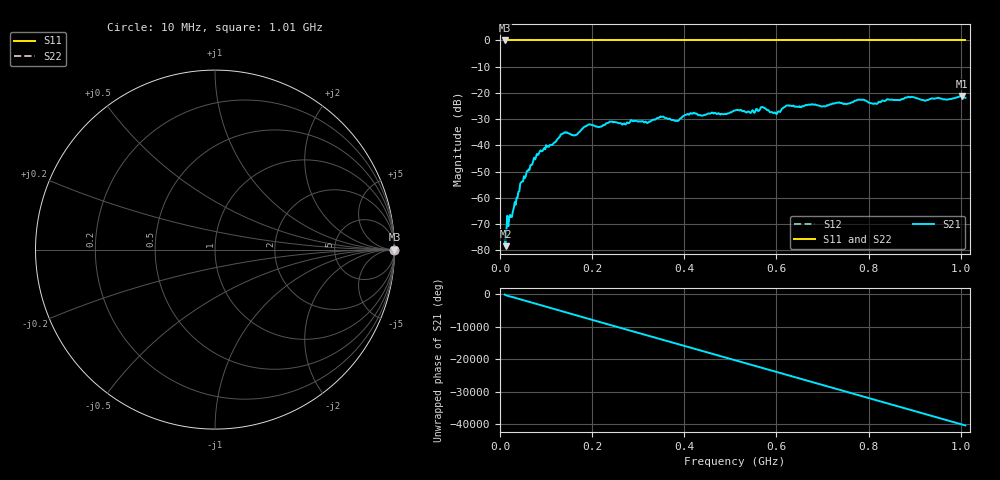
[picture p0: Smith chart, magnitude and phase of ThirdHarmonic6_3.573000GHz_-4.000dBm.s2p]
! 8/17/2025 11:50:42 AM
! C:\ANRITSUVNA\TEMP\TEMP.S2P
! CHANNEL.1
! TR.MEASUREMENT
! RAW.DATA
! RF.CORRECTION.OFF
! AVERAGING.OFF
! IF.BANDWIDTH: 5KHZ
! SWEEPTYPE:  FREQ.SWEEP(Linear)
! Reference Plane Port Info
! PORT:  PORT1  PORT2
! DISTANCE:  0  m  0  m
! TIME:  0  s  0  s
! PHASE.OFFSET:  0  deg.  0  deg.
! LOSS:  0  dB  0  dB
! REF.LOSS:  0  dB  0  dB
! REF.FREQ:  0  Hz  0  Hz
! Power Info
! POWER:  -20  dBm  -20  dBm
! EFF.POWER:  -20  dBm  -20  dBm
! SOURCE.ATTEN:  0  dB  0  dB
! TEST.ATTEN:  0  dB  0  dB
# GHZ S RI R 50.0
! FREQ.GHZ  S11RE  S11IM  S21RE  S21IM  S12RE  S12IM  S22RE  S22IM
!; PortSelection: Port_12
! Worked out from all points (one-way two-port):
!   501 points, 10 MHz to 1.01 GHz, reference 50 ohm
!   highest |S21| = -21.20 dB at 1.002 GHz (marker M1); lowest = -78.5 dB at 12 MHz (marker M2)
!   lowest |S11| = 0.0 dB at 10 MHz (marker M3)
!   |S11| at or under -10 dB: nowhere
!   |S22| runs from 0.0 to 0.0 dB; largest |S21 - S12| = 1.1
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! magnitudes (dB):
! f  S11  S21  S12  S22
! 10 MHz  0.0  -75.9  0.0  0.0
! 12 MHz  0.0  -78.5  0.0  0.0
! 18 MHz  0.0  -70.9  0.0  0.0
! 30 MHz  0.0  -63.9  0.0  0.0
! 48 MHz  0.0  -53.8  0.0  0.0
! 76 MHz  0.0  -45.4  0.0  0.0
! 136 MHz  0.0  -35.6  0.0  0.0
! 164 MHz  0.0  -36.0  0.0  0.0
! 178 MHz  0.0  -33.8  0.0  0.0
! 194 MHz  0.0  -32.0  0.0  0.0
! 322 MHz  0.0  -31.2  0.0  0.0
! 344 MHz  0.0  -29.6  0.0  0.0
! 384 MHz  0.0  -30.7  0.0  0.0
! 416 MHz  0.0  -27.9  0.0  0.0
! 510 MHz  0.0  -26.7  0.0  0.0
! 570 MHz  0.0  -25.4  0.0  0.0
! 598 MHz  0.0  -27.5  0.0  0.0
! 622 MHz  0.0  -24.8  0.0  0.0
! 678 MHz  0.0  -24.4  0.0  0.0
! 844 MHz  0.0  -22.5  0.0  0.0
! 1.002 GHz  0.0  -21.2  0.0  0.0
! 1.01 GHz  0.0  -21.9  0.0  0.0
